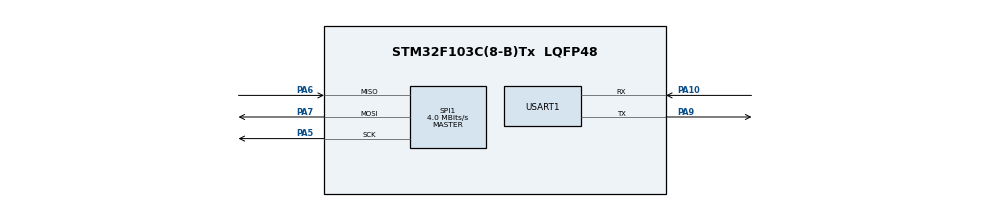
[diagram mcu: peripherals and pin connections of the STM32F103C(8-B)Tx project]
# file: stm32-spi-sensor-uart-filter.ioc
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Mcu.Family=STM32F1
Mcu.Name=STM32F103C(8-B)Tx
Mcu.Package=LQFP48
NVIC.PriorityGroup=NVIC_PRIORITYGROUP_4
PA10.Mode=Asynchronous
PA10.Signal=USART1_RX
PA13.Mode=Serial_Wire
PA13.Signal=SYS_JTMS-SWDIO
PA14.Mode=Serial_Wire
PA14.Signal=SYS_JTCK-SWCLK
PA5.Mode=Full_Duplex_Master
PA5.Signal=SPI1_SCK
PA6.Mode=Full_Duplex_Master
PA6.Signal=SPI1_MISO
PA7.Mode=Full_Duplex_Master
PA7.Signal=SPI1_MOSI
PA9.Mode=Asynchronous
PA9.Signal=USART1_TX
ProjectManager.HeapSize=0x200
ProjectManager.StackSize=0x400
ProjectManager.TargetToolchain=STM32CubeIDE
RCC.APB1Freq_Value=8000000
RCC.APB2Freq_Value=8000000
SPI1.CalculateBaudRate=4.0 MBits/s
SPI1.Direction=SPI_DIRECTION_2LINES
SPI1.Mode=SPI_MODE_MASTER
SPI1.VirtualType=VM_MASTER
USART1.VirtualMode=VM_ASYNC
board=custom

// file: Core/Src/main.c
/* USER CODE BEGIN Header */
/**
  ******************************************************************************
  * @file           : main.c
  * @brief          : Main program body
  ******************************************************************************
  * @attention
  *
  * Copyright (c) 2025 STMicroelectronics.
  * All rights reserved.
  *
  * This software is licensed under terms that can be found in the LICENSE file
  * in the root directory of this software component.
  * If no LICENSE file comes with this software, it is provided AS-IS.
  *
  ******************************************************************************
  */
/* USER CODE END Header */
#include "main.h"

SPI_HandleTypeDef hspi1;

UART_HandleTypeDef huart1;

void SystemClock_Config(void);
static void MX_GPIO_Init(void);
static void MX_SPI1_Init(void);
static void MX_USART1_UART_Init(void);

/* USER CODE BEGIN 0 */
/* USER CODE BEGIN 0 */
#include <stdio.h>
#include <string.h>

uint16_t read_adc_value(void);
uint16_t buffer[10];
uint8_t index = 0;

UART_HandleTypeDef huart1;
SPI_HandleTypeDef hspi1;

/* USER CODE END 0 */

/* USER CODE END 0 */

int main(void)
{

  /* USER CODE BEGIN 1 */
	uint16_t read_adc_value(void)
	{
	    uint8_t txData[3] = {0x01, 0x80, 0x00}; // CH0 icin MCP3008 komutu
	    uint8_t rxData[3] = {0};

	    HAL_GPIO_WritePin(GPIOA, GPIO_PIN_4, GPIO_PIN_RESET); // CS LOW
	    HAL_SPI_TransmitReceive(&hspi1, txData, rxData, 3, HAL_MAX_DELAY);
	    HAL_GPIO_WritePin(GPIOA, GPIO_PIN_4, GPIO_PIN_SET);   // CS HIGH

	    uint16_t result = ((rxData[1] & 0x03) << 8) | rxData[2];
	    return result;
	}

  /* USER CODE END 1 */

  /* MCU Configuration--------------------------------------------------------*/

  /* Reset of all peripherals, Initializes the Flash interface and the Systick. */
  HAL_Init();

  /* Configure the system clock */
  SystemClock_Config();

  /* Initialize all configured peripherals */
  MX_GPIO_Init();
  MX_SPI1_Init();
  MX_USART1_UART_Init();
  /* USER CODE BEGIN 2 */
  HAL_GPIO_WritePin(GPIOA, GPIO_PIN_4, GPIO_PIN_SET); // CS HIGH başlangıçta
  /* USER CODE END 2 */

  /* Infinite loop */
  while (1)
  {
	  uint16_t val = read_adc_value();

	      buffer[index++] = val;
	      if (index >= 10) index = 0;

	      uint32_t sum = 0;
	      for (int i = 0; i < 10; i++)
	        sum += buffer[i];
	      uint16_t avg = sum / 10;

	      char msg[64];
	      sprintf(msg, "ADC (avg): %d\r\n", avg);
	      HAL_UART_Transmit(&huart1, (uint8_t*)msg, strlen(msg), HAL_MAX_DELAY);

	      HAL_Delay(500); // 0.5 saniyede bir gönder
  }
}

void SystemClock_Config(void)
{
  RCC_OscInitTypeDef RCC_OscInitStruct = {0};
  RCC_ClkInitTypeDef RCC_ClkInitStruct = {0};

  /** Initializes the RCC Oscillators according to the specified parameters
  * in the RCC_OscInitTypeDef structure.
  */
  RCC_OscInitStruct.OscillatorType = RCC_OSCILLATORTYPE_HSI;
  RCC_OscInitStruct.HSIState = RCC_HSI_ON;
  RCC_OscInitStruct.HSICalibrationValue = RCC_HSICALIBRATION_DEFAULT;
  RCC_OscInitStruct.PLL.PLLState = RCC_PLL_NONE;
  if (HAL_RCC_OscConfig(&RCC_OscInitStruct) != HAL_OK)
  {
    Error_Handler();
  }

  /** Initializes the CPU, AHB and APB buses clocks
  */
  RCC_ClkInitStruct.ClockType = RCC_CLOCKTYPE_HCLK|RCC_CLOCKTYPE_SYSCLK
                              |RCC_CLOCKTYPE_PCLK1|RCC_CLOCKTYPE_PCLK2;
  RCC_ClkInitStruct.SYSCLKSource = RCC_SYSCLKSOURCE_HSI;
  RCC_ClkInitStruct.AHBCLKDivider = RCC_SYSCLK_DIV1;
  RCC_ClkInitStruct.APB1CLKDivider = RCC_HCLK_DIV1;
  RCC_ClkInitStruct.APB2CLKDivider = RCC_HCLK_DIV1;

  if (HAL_RCC_ClockConfig(&RCC_ClkInitStruct, FLASH_LATENCY_0) != HAL_OK)
  {
    Error_Handler();
  }
}

static void MX_SPI1_Init(void)
{

  /* SPI1 parameter configuration*/
  hspi1.Instance = SPI1;
  hspi1.Init.Mode = SPI_MODE_MASTER;
  hspi1.Init.Direction = SPI_DIRECTION_2LINES;
  hspi1.Init.DataSize = SPI_DATASIZE_8BIT;
  hspi1.Init.CLKPolarity = SPI_POLARITY_LOW;
  hspi1.Init.CLKPhase = SPI_PHASE_1EDGE;
  hspi1.Init.NSS = SPI_NSS_SOFT;
  hspi1.Init.BaudRatePrescaler = SPI_BAUDRATEPRESCALER_2;
  hspi1.Init.FirstBit = SPI_FIRSTBIT_MSB;
  hspi1.Init.TIMode = SPI_TIMODE_DISABLE;
  hspi1.Init.CRCCalculation = SPI_CRCCALCULATION_DISABLE;
  hspi1.Init.CRCPolynomial = 10;
  if (HAL_SPI_Init(&hspi1) != HAL_OK)
  {
    Error_Handler();
  }

}

static void MX_USART1_UART_Init(void)
{

  huart1.Instance = USART1;
  huart1.Init.BaudRate = 115200;
  huart1.Init.WordLength = UART_WORDLENGTH_8B;
  huart1.Init.StopBits = UART_STOPBITS_1;
  huart1.Init.Parity = UART_PARITY_NONE;
  huart1.Init.Mode = UART_MODE_TX_RX;
  huart1.Init.HwFlowCtl = UART_HWCONTROL_NONE;
  huart1.Init.OverSampling = UART_OVERSAMPLING_16;
  if (HAL_UART_Init(&huart1) != HAL_OK)
  {
    Error_Handler();
  }

}

static void MX_GPIO_Init(void)
{

  /* GPIO Ports Clock Enable */
  __HAL_RCC_GPIOA_CLK_ENABLE();

}

void Error_Handler(void)
{
  __disable_irq();
  while (1)
  {
  }
}
